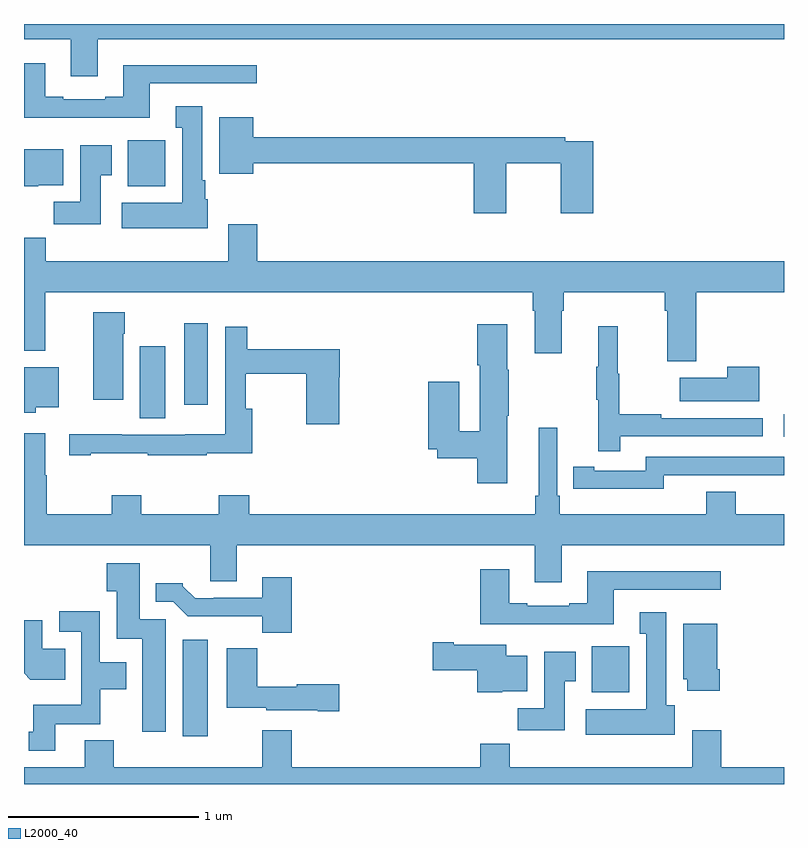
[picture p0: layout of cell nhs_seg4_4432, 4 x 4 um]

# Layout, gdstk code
import gdstk
lib = gdstk.Library(unit=1e-6, precision=1e-09)
def R(c, l, rs):  # rectangles x0, y0, x1, y1
    for r in rs: c.add(gdstk.rectangle(r[:2], r[2:], *l))
def P(c, l, *ps):  # polygons
    for p in ps: c.add(gdstk.Polygon(p, *l))
L2000_40 = (2000, 40)

nhs_seg4_4432 = lib.new_cell('nhs_seg4_4432')
R(nhs_seg4_4432, L2000_40, [(349.835,793.152,349.966,793.66), (351.989,793.382,352.186,793.624), (352.998,794.727,353,794.847), (349.61,794.824,349.744,795.205), (349.844,794.895,349.966,795.325), (349.547,796.046,349.744,796.288)])
P(nhs_seg4_4432, L2000_40, [(349.387,796.82),(353,796.82),(353,796.9),(349,796.9),(349,796.82),(349.247,796.82),(349.247,796.626),(349.387,796.626)],
  [(349.663,796.587),(350.224,796.587),(350.224,796.684),(349.523,796.684),(349.523,796.516),(349.427,796.516),(349.427,796.503),(349.207,796.503),(349.207,796.516),(349.111,796.516),(349.111,796.693),(349,796.693),(349,796.406),(349.663,796.406)],
  [(349.966,795.978),(349.954,795.978),(349.954,796.078),(349.939,796.078),(349.939,796.468),(349.799,796.468),(349.799,796.355),(349.832,796.355),(349.832,795.958),(349.515,795.958),(349.515,795.824),(349.966,795.824)],
  [(351.538,796.168),(351.824,796.168),(351.824,795.903),(351.995,795.903),(351.995,796.284),(351.848,796.284),(351.848,796.304),(350.206,796.304),(350.206,796.408),(350.027,796.408),(350.027,796.112),(350.206,796.112),(350.206,796.168),(351.368,796.168),(351.368,795.903),(351.538,795.903)],
  [(349.405,796.105),(349.462,796.105),(349.462,796.261),(349.295,796.261),(349.295,795.964),(349.156,795.964),(349.156,795.846),(349.405,795.846)],
  [(349.074,796.052),(349.207,796.052),(349.207,796.24),(349,796.24),(349,796.046),(349.074,796.046)],
  [(352.538,795.488),(353,795.488),(353,795.652),(350.228,795.652),(350.228,795.847),(350.075,795.847),(350.075,795.652),(349.115,795.652),(349.115,795.776),(349,795.776),(349,795.179),(349.111,795.179),(349.111,795.488),(351.677,795.488),(351.677,795.392),(351.689,795.392),(351.689,795.168),(351.829,795.168),(351.829,795.392),(351.842,795.392),(351.842,795.488),(352.373,795.488),(352.373,795.392),(352.385,795.392),(352.385,795.126),(352.538,795.126)],
  [(349.522,795.269),(349.53,795.269),(349.53,795.382),(349.364,795.382),(349.364,794.922),(349.522,794.922)],
  [(351.544,794.839),(351.552,794.839),(351.552,795.08),(351.544,795.08),(351.544,795.319),(351.386,795.319),(351.386,795.103),(351.398,795.103),(351.398,794.756),(351.292,794.756),(351.292,795.016),(351.127,795.016),(351.127,794.663),(351.176,794.663),(351.176,794.614),(351.386,794.614),(351.386,794.484),(351.544,794.484)],
  [(352.139,794.73),(352.888,794.73),(352.888,794.826),(352.355,794.826),(352.355,794.846),(352.132,794.846),(352.132,795.06),(352.124,795.06),(352.124,795.31),(352.022,795.31),(352.022,795.097),(352.011,795.097),(352.011,794.923),(352.022,794.923),(352.022,794.652),(352.139,794.652)],
  [(349.351,794.641),(349.651,794.641),(349.651,794.631),(349.961,794.631),(349.961,794.641),(350.201,794.641),(350.201,794.875),(350.167,794.875),(350.167,795.058),(350.485,795.058),(350.485,794.793),(350.658,794.793),(350.658,795.041),(350.663,795.041),(350.663,795.187),(350.174,795.187),(350.174,795.307),(350.058,795.307),(350.058,794.74),(349.848,794.74),(349.848,794.739),(349.514,794.739),(349.514,794.741),(349.239,794.741),(349.239,794.631),(349.351,794.631)],
  [(352.87,795.097),(352.7,795.097),(352.7,795.037),(352.451,795.037),(352.451,794.915),(352.87,794.915)],
  [(349.062,794.882),(349.183,794.882),(349.183,795.094),(349,795.094),(349,794.855),(349.062,794.855)],
  [(351.829,794.156),(353,794.156),(353,794.32),(352.745,794.32),(352.745,794.437),(352.592,794.437),(352.592,794.32),(351.821,794.32),(351.821,794.416),(351.807,794.416),(351.807,794.776),(351.71,794.776),(351.71,794.416),(351.691,794.416),(351.691,794.32),(350.186,794.32),(350.186,794.419),(350.026,794.419),(350.026,794.32),(349.617,794.32),(349.617,794.419),(349.462,794.419),(349.462,794.32),(349.119,794.32),(349.119,794.525),(349.111,794.525),(349.111,794.746),(349,794.746),(349,794.156),(349.979,794.156),(349.979,793.966),(350.119,793.966),(350.119,794.156),(351.689,794.156),(351.689,793.962),(351.829,793.962)],
  [(352.368,794.526),(352.828,794.526),(352.828,794.525),(353,794.525),(353,794.622),(352.272,794.622),(352.272,794.55),(352,794.55),(352,794.57),(351.892,794.57),(351.892,794.454),(352,794.454),(352,794.453),(352.368,794.453)],
  [(349.747,793.767),(349.609,793.767),(349.609,794.062),(349.436,794.062),(349.436,793.915),(349.487,793.915),(349.487,793.664),(349.622,793.664),(349.622,793.176),(349.747,793.176)],
  [(352.105,793.923),(352.666,793.923),(352.666,794.02),(351.965,794.02),(351.965,793.852),(351.869,793.852),(351.869,793.839),(351.649,793.839),(351.649,793.852),(351.553,793.852),(351.553,794.029),(351.401,794.029),(351.401,793.742),(352.105,793.742)],
  [(350.408,793.987),(350.255,793.987),(350.255,793.881),(349.999,793.881),(349.999,793.878),(349.9,793.878),(349.836,793.942),(349.836,793.957),(349.694,793.957),(349.694,793.86),(349.785,793.86),(349.861,793.784),(350.253,793.784),(350.253,793.697),(350.408,793.697)],
  [(349.165,793.214),(349.401,793.214),(349.401,793.4),(349.537,793.4),(349.537,793.54),(349.398,793.54),(349.398,793.81),(349.185,793.81),(349.185,793.701),(349.302,793.701),(349.302,793.318),(349.049,793.318),(349.049,793.176),(349.025,793.176),(349.025,793.074),(349.165,793.074)],
  [(352.426,793.314),(352.381,793.314),(352.381,793.804),(352.241,793.804),(352.241,793.691),(352.274,793.691),(352.274,793.294),(351.957,793.294),(351.957,793.16),(352.426,793.16)],
  [(349.217,793.612),(349.096,793.612),(349.096,793.762),(349,793.762),(349,793.482),(349.034,793.448),(349.217,793.448)],
  [(352.661,793.504),(352.648,793.504),(352.648,793.744),(352.469,793.744),(352.469,793.452),(352.49,793.452),(352.49,793.392),(352.661,793.392)],
  [(351.516,793.388),(351.649,793.388),(351.649,793.576),(351.538,793.576),(351.538,793.633),(351.262,793.633),(351.262,793.646),(351.15,793.646),(351.15,793.499),(351.386,793.499),(351.386,793.382),(351.516,793.382)],
  [(350.659,793.424),(350.436,793.424),(350.436,793.411),(350.228,793.411),(350.228,793.615),(350.066,793.615),(350.066,793.301),(350.274,793.301),(350.274,793.289),(350.546,793.289),(350.546,793.282),(350.659,793.282)],
  [(351.847,793.441),(351.904,793.441),(351.904,793.597),(351.737,793.597),(351.737,793.3),(351.598,793.3),(351.598,793.182),(351.847,793.182)],
  [(353,792.988),(352.67,792.988),(352.67,793.183),(352.517,793.183),(352.517,792.988),(351.557,792.988),(351.557,793.112),(351.401,793.112),(351.401,792.988),(350.408,792.988),(350.408,793.183),(350.255,793.183),(350.255,792.988),(349.472,792.988),(349.472,793.129),(349.319,793.129),(349.319,792.988),(349,792.988),(349,792.9),(353,792.9)])

lib.write_gds('nhs_seg4_4432.gds')
